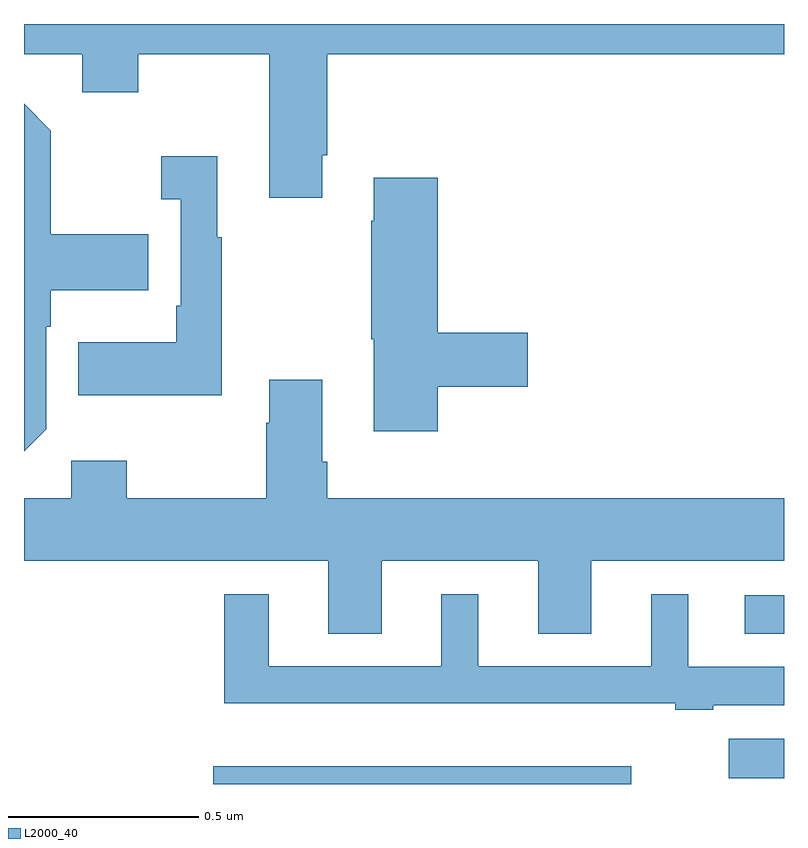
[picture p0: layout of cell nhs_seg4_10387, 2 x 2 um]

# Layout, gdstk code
import gdstk
lib = gdstk.Library(unit=1e-6, precision=1e-09)
def R(c, l, rs):  # rectangles x0, y0, x1, y1
    for r in rs: c.add(gdstk.rectangle(r[:2], r[2:], *l))
def P(c, l, *ps):  # polygons
    for p in ps: c.add(gdstk.Polygon(p, *l))
L2000_40 = (2000, 40)

nhs_seg4_10387 = lib.new_cell('nhs_seg4_10387')
R(nhs_seg4_10387, L2000_40, [(239.498,794.9,240.598,794.947), (240.855,794.915,241,795.019), (240.897,795.296,241,795.397)])
P(nhs_seg4_10387, L2000_40, [(239.785,796.555),(239.798,796.555),(239.798,796.82),(241,796.82),(241,796.9),(239,796.9),(239,796.82),(239.153,796.82),(239.153,796.721),(239.301,796.721),(239.301,796.82),(239.645,796.82),(239.645,796.443),(239.785,796.443)],
  [(239.058,795.834),(239.058,796.103),(239.071,796.103),(239.071,796.199),(239.327,796.199),(239.327,796.347),(239.071,796.347),(239.071,796.619),(239,796.69),(239,795.776)],
  [(239.521,796.339),(239.509,796.339),(239.509,796.552),(239.361,796.552),(239.361,796.439),(239.412,796.439),(239.412,796.159),(239.4,796.159),(239.4,796.063),(239.143,796.063),(239.143,795.923),(239.521,795.923)],
  [(240.089,795.946),(240.325,795.946),(240.325,796.088),(240.089,796.088),(240.089,796.495),(239.921,796.495),(239.921,796.382),(239.914,796.382),(239.914,796.071),(239.921,796.071),(239.921,795.828),(240.089,795.828)],
  [(239.941,795.488),(240.353,795.488),(240.353,795.295),(240.493,795.295),(240.493,795.488),(241,795.488),(241,795.652),(239.798,795.652),(239.798,795.748),(239.785,795.748),(239.785,795.964),(239.645,795.964),(239.645,795.851),(239.638,795.851),(239.638,795.652),(239.271,795.652),(239.271,795.751),(239.124,795.751),(239.124,795.652),(239,795.652),(239,795.488),(239.801,795.488),(239.801,795.295),(239.941,795.295)],
  [(240.814,795.107),(241,795.107),(241,795.208),(240.748,795.208),(240.748,795.4),(240.65,795.4),(240.65,795.21),(240.196,795.21),(240.196,795.4),(240.098,795.4),(240.098,795.21),(239.644,795.21),(239.644,795.4),(239.527,795.4),(239.527,795.113),(240.714,795.113),(240.714,795.095),(240.814,795.095)])

lib.write_gds('nhs_seg4_10387.gds')
